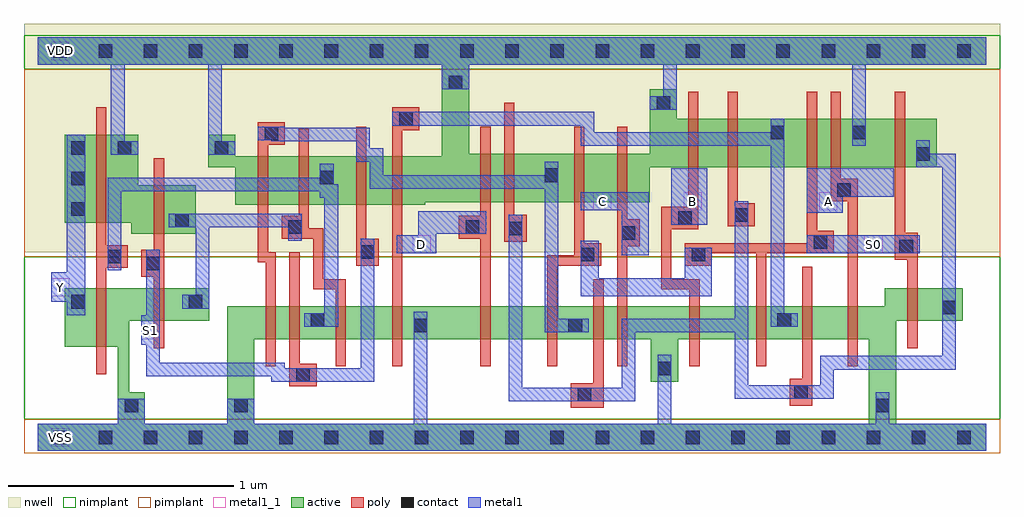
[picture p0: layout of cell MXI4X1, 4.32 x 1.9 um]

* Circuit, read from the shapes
.subckt MXI4X1 A B C D S0 S1 VDD VSS Y
M1 VSS n1 Y VSS nfet w=0.26u l=0.045u
M2 n2 S1 VSS VSS nfet w=0.145u l=0.045u
M3 n3 n4 VSS VSS nfet w=0.145u l=0.045u
M4 n1 S1 n3 VSS nfet w=0.145u l=0.045u
M5 n5 n2 n1 VSS nfet w=0.145u l=0.045u
M6 VSS n6 n5 VSS nfet w=0.145u l=0.045u
M7 n7 D VSS VSS nfet w=0.145u l=0.045u
M8 n4 S0 n7 VSS nfet w=0.145u l=0.045u
M9 n8 n9 n4 VSS nfet w=0.145u l=0.045u
M10 VSS C n8 VSS nfet w=0.145u l=0.045u
M11 n10 B VSS VSS nfet w=0.145u l=0.045u
M12 n6 S0 n10 VSS nfet w=0.145u l=0.045u
M13 n11 n9 n6 VSS nfet w=0.145u l=0.045u
M14 VSS A n11 VSS nfet w=0.145u l=0.045u
M15 n9 S0 VSS VSS nfet w=0.145u l=0.045u
M16 VDD n1 Y VDD pfet w=0.39u l=0.045u
M17 n2 S1 VDD VDD pfet w=0.215u l=0.045u
M18 n12 n4 VDD VDD pfet w=0.215u l=0.045u
M19 n1 n2 n12 VDD pfet w=0.215u l=0.045u
M20 n13 S1 n1 VDD pfet w=0.215u l=0.045u
M21 VDD n6 n13 VDD pfet w=0.215u l=0.045u
M22 n14 D VDD VDD pfet w=0.215u l=0.045u
M23 n4 n9 n14 VDD pfet w=0.215u l=0.045u
M24 n15 S0 n4 VDD pfet w=0.215u l=0.045u
M25 VDD C n15 VDD pfet w=0.215u l=0.045u
M26 n16 B VDD VDD pfet w=0.215u l=0.045u
M27 n6 n9 n16 VDD pfet w=0.215u l=0.045u
M28 n17 S0 n6 VDD pfet w=0.215u l=0.045u
M29 VDD A n17 VDD pfet w=0.215u l=0.045u
M30 n9 S0 VDD VDD pfet w=0.215u l=0.045u
.ends

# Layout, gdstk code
import gdstk
lib = gdstk.Library(unit=1e-6, precision=5e-10)
def R(c, l, rs):  # rectangles x0, y0, x1, y1
    for r in rs: c.add(gdstk.rectangle(r[:2], r[2:], *l))
def A(c, l, x, y, w, h, nx, ny, dx, dy):  # array of equal rectangles
    R(c, l, [(x+i*dx, y+j*dy, x+i*dx+w, y+j*dy+h) for i in range(nx) for j in range(ny)])
def P(c, l, *ps):  # polygons
    for p in ps: c.add(gdstk.Polygon(p, *l))
active = (1, 0)
nwell = (2, 0)
poly = (3, 0)
nimplant = (4, 0)
pimplant = (5, 0)
contact = (6, 0)
metal1 = (7, 0)
metal1_1 = (7, 1)

mxi4x1 = lib.new_cell('MXI4X1')
P(mxi4x1, active, [(0,1.77),(4.2,1.77),(4.2,1.65),(1.91,1.65),(1.91,1.255),(2.71,1.255),(2.71,1.54),(2.83,1.54),(2.83,1.41),(3.98,1.41),(3.98,1.195),(2.71,1.195),(2.71,1.04),(1.715,1.04),(1.715,1.03),(0.875,1.03),(0.875,1.195),(0.755,1.195),(0.755,1.34),(0.875,1.34),(0.875,1.245),(1.79,1.245),(1.79,1.65),(0,1.65)],
  [(0.12,1.34),(0.445,1.34),(0.445,1.115),(0.7,1.115),(0.7,0.9),(0.415,0.9),(0.415,0.95),(0.12,0.95)],
  [(0.12,0.66),(0.76,0.66),(0.76,0.515),(0.405,0.515),(0.405,0.2),(0.475,0.2),(0.475,0.06),(0.84,0.06),(0.84,0.435),(0.96,0.435),(0.96,0.06),(3.68,0.06),(3.68,0.435),(2.835,0.435),(2.835,0.245),(2.715,0.245),(2.715,0.435),(0.84,0.435),(0.84,0.58),(3.75,0.58),(3.75,0.66),(4.095,0.66),(4.095,0.515),(3.8,0.515),(3.8,0.06),(4.2,0.06),(4.2,-0.06),(0,-0.06),(0,0.06),(0.355,0.06),(0.355,0.4),(0.12,0.4)])
R(mxi4x1, nwell, [(-0.06,0.82,4.26,1.83)])
P(mxi4x1, poly, [(0.975,1.395),(1.095,1.395),(1.095,1.295),(1.02,1.295),(1.02,0.82),(1.055,0.82),(1.055,0.315),(1.01,0.315),(1.01,0.775),(0.975,0.775)],
  [(0.26,1.46),(0.305,1.46),(0.305,0.85),(0.4,0.85),(0.4,0.75),(0.305,0.75),(0.305,0.28),(0.26,0.28)],
  [(1.57,1.46),(1.69,1.46),(1.69,1.36),(1.615,1.36),(1.615,0.315),(1.57,0.315)],
  [(1.155,1.365),(1.2,1.365),(1.2,0.925),(1.265,0.925),(1.265,0.7),(1.365,0.7),(1.365,0.315),(1.32,0.315),(1.32,0.655),(1.22,0.655),(1.22,0.88),(1.08,0.88),(1.08,0.98),(1.155,0.98)],
  [(1.41,1.375),(1.455,1.375),(1.455,0.88),(1.51,0.88),(1.51,0.76),(1.41,0.76)],
  [(1.96,1.375),(2.005,1.375),(2.005,0.315),(1.96,0.315),(1.96,0.88),(1.865,0.88),(1.865,0.98),(1.96,0.98)],
  [(2.065,1.48),(2.11,1.48),(2.11,0.985),(2.165,0.985),(2.165,0.865),(2.065,0.865)],
  [(2.375,1.375),(2.42,1.375),(2.42,0.86),(2.495,0.86),(2.495,0.76),(2.3,0.76),(2.3,0.315),(2.255,0.315),(2.255,0.805),(2.375,0.805)],
  [(2.565,1.375),(2.61,1.375),(2.61,0.965),(2.665,0.965),(2.665,0.845),(2.61,0.845),(2.61,0.315),(2.565,0.315)],
  [(0.515,1.235),(0.56,1.235),(0.56,0.395),(0.515,0.395),(0.515,0.71),(0.46,0.71),(0.46,0.83),(0.515,0.83)],
  [(2.88,1.53),(2.925,1.53),(2.925,0.92),(2.805,0.92),(2.805,0.7),(2.93,0.7),(2.93,0.315),(2.885,0.315),(2.885,0.655),(2.76,0.655),(2.76,1.02),(2.88,1.02)],
  [(3.055,1.53),(3.1,1.53),(3.1,1.035),(3.175,1.035),(3.175,0.935),(3.055,0.935)],
  [(3.405,1.53),(3.45,1.53),(3.45,0.915),(3.525,0.915),(3.525,0.815),(3.225,0.815),(3.225,0.315),(3.18,0.315),(3.18,0.815),(2.985,0.815),(2.985,0.76),(2.865,0.76),(2.865,0.86),(3.405,0.86)],
  [(3.51,1.53),(3.555,1.53),(3.555,1.145),(3.63,1.145),(3.63,0.315),(3.585,0.315),(3.585,1.045),(3.51,1.045)],
  [(3.795,1.53),(3.84,1.53),(3.84,0.905),(3.895,0.905),(3.895,0.395),(3.85,0.395),(3.85,0.785),(3.795,0.785)],
  [(1.115,0.82),(1.16,0.82),(1.16,0.325),(1.235,0.325),(1.235,0.225),(1.115,0.225)],
  [(2.46,0.7),(2.505,0.7),(2.505,0.13),(2.36,0.13),(2.36,0.24),(2.46,0.24)],
  [(3.385,0.755),(3.43,0.755),(3.43,0.14),(3.33,0.14),(3.33,0.26),(3.385,0.26)])
R(mxi4x1, nimplant, [(-0.06,0.08,4.26,0.8), (-0.06,1.63,4.26,1.78)])
R(mxi4x1, pimplant, [(-0.06,-0.07,4.26,0.08), (-0.06,0.8,4.26,1.63)])
A(mxi4x1, contact, 0.07, -0.03, 0.06, 0.06, 21, 2, 0.2, 1.71)
A(mxi4x1, contact, 0.15, 0.98, 0.06, 0.06, 1, 3, 0, 0.135)
R(mxi4x1, contact, [(0.385,0.11,0.445,0.17), (0.87,0.11,0.93,0.17), (3.71,0.11,3.77,0.17), (2.39,0.16,2.45,0.22), (3.35,0.17,3.41,0.23), (1.145,0.245,1.205,0.305), (2.745,0.275,2.805,0.335), (1.665,0.465,1.725,0.525), (2.35,0.465,2.41,0.525), (1.21,0.49,1.27,0.55), (3.275,0.49,3.335,0.55), (4.005,0.545,4.065,0.605), (0.15,0.57,0.21,0.63), (0.67,0.57,0.73,0.63), (0.48,0.74,0.54,0.8), (0.31,0.77,0.37,0.83), (2.405,0.78,2.465,0.84), (2.895,0.78,2.955,0.84), (1.43,0.79,1.49,0.85), (3.815,0.815,3.875,0.875), (3.435,0.835,3.495,0.895), (2.585,0.875,2.645,0.935), (2.085,0.895,2.145,0.955), (1.11,0.9,1.17,0.96), (1.895,0.9,1.955,0.96), (0.61,0.93,0.67,0.99), (2.835,0.94,2.895,1), (3.085,0.955,3.145,1.015), (3.54,1.065,3.6,1.125), (1.25,1.12,1.31,1.18), (2.245,1.13,2.305,1.19), (3.89,1.225,3.95,1.285), (0.355,1.25,0.415,1.31), (0.785,1.25,0.845,1.31), (1.005,1.315,1.065,1.375), (3.245,1.32,3.305,1.38), (3.605,1.32,3.665,1.38), (1.6,1.38,1.66,1.44), (2.74,1.45,2.8,1.51), (1.82,1.54,1.88,1.6)])
R(mxi4x1, metal1, [(3.405,0.815,3.905,0.895), (2.805,0.94,2.965,1.19)])
P(mxi4x1, metal1, [(0,1.77),(4.2,1.77),(4.2,1.65),(3.665,1.65),(3.665,1.29),(3.605,1.29),(3.605,1.65),(2.83,1.65),(2.83,1.45),(2.71,1.45),(2.71,1.51),(2.77,1.51),(2.77,1.65),(1.91,1.65),(1.91,1.54),(1.79,1.54),(1.79,1.65),(0.815,1.65),(0.815,1.31),(0.875,1.31),(0.875,1.25),(0.755,1.25),(0.755,1.65),(0.385,1.65),(0.385,1.31),(0.445,1.31),(0.445,1.25),(0.325,1.25),(0.325,1.65),(0,1.65)],
  [(0.13,1.34),(0.21,1.34),(0.21,0.54),(0.13,0.54),(0.13,0.6),(0.06,0.6),(0.06,0.73),(0.13,0.73)],
  [(0.975,1.375),(1.095,1.375),(1.095,1.37),(1.47,1.37),(1.47,1.28),(1.53,1.28),(1.53,1.16),(2.245,1.16),(2.245,1.22),(2.305,1.22),(2.305,0.525),(2.44,0.525),(2.44,0.465),(2.245,0.465),(2.245,1.1),(1.47,1.1),(1.47,1.22),(1.41,1.22),(1.41,1.31),(1.035,1.31),(1.035,1.315),(0.975,1.315)],
  [(1.57,1.44),(2.465,1.44),(2.465,1.35),(3.245,1.35),(3.245,1.41),(3.305,1.41),(3.305,0.55),(3.365,0.55),(3.365,0.49),(3.245,0.49),(3.245,1.29),(2.405,1.29),(2.405,1.38),(1.57,1.38)],
  [(1.25,1.21),(1.31,1.21),(1.31,1.12),(1.33,1.12),(1.33,0.49),(1.18,0.49),(1.18,0.55),(1.27,0.55),(1.27,1.06),(1.25,1.06),(1.25,1.09),(0.37,1.09),(0.37,0.74),(0.31,0.74),(0.31,1.15),(1.25,1.15)],
  [(3.89,1.315),(3.95,1.315),(3.95,1.255),(4.065,1.255),(4.065,0.3),(3.525,0.3),(3.525,0.17),(3.085,0.17),(3.085,0.465),(2.645,0.465),(2.645,0.16),(2.085,0.16),(2.085,0.985),(2.145,0.985),(2.145,0.22),(2.585,0.22),(2.585,0.525),(3.085,0.525),(3.085,1.045),(3.145,1.045),(3.145,0.23),(3.465,0.23),(3.465,0.36),(4.005,0.36),(4.005,1.195),(3.89,1.195)],
  [(0.58,0.99),(1.17,0.99),(1.17,0.87),(1.11,0.87),(1.11,0.93),(0.76,0.93),(0.76,0.57),(0.64,0.57),(0.64,0.63),(0.7,0.63),(0.7,0.93),(0.58,0.93)],
  [(0.48,0.83),(0.54,0.83),(0.54,0.33),(1.095,0.33),(1.095,0.305),(1.43,0.305),(1.43,0.88),(1.49,0.88),(1.49,0.245),(1.035,0.245),(1.035,0.27),(0.48,0.27),(0.48,0.41),(0.46,0.41),(0.46,0.54),(0.48,0.54)],
  [(1.685,1),(1.985,1),(1.985,0.9),(1.765,0.9),(1.765,0.815),(1.59,0.815),(1.59,0.895),(1.685,0.895)],
  [(0.355,0.17),(0.475,0.17),(0.475,0.06),(0.84,0.06),(0.84,0.17),(0.96,0.17),(0.96,0.06),(1.665,0.06),(1.665,0.555),(1.725,0.555),(1.725,0.06),(2.745,0.06),(2.745,0.365),(2.805,0.365),(2.805,0.06),(3.71,0.06),(3.71,0.2),(3.77,0.2),(3.77,0.06),(4.2,0.06),(4.2,-0.06),(0,-0.06),(0,0.06),(0.355,0.06)],
  [(2.405,1.085),(2.705,1.085),(2.705,0.805),(2.585,0.805),(2.585,1.005),(2.405,1.005)],
  [(2.405,0.87),(2.485,0.87),(2.485,0.705),(2.865,0.705),(2.865,0.84),(2.985,0.84),(2.985,0.625),(2.405,0.625)],
  [(3.405,1.19),(3.79,1.19),(3.79,1.065),(3.565,1.065),(3.565,0.995),(3.405,0.995)])
R(mxi4x1, metal1_1, [(0.06,-0.04,0.14,0.04), (0.46,0.435,0.54,0.515), (0.06,0.625,0.14,0.705), (1.66,0.815,1.74,0.895), (3.66,0.815,3.74,0.895), (2.46,1.005,2.54,1.085), (2.86,1.005,2.94,1.085), (3.46,1.005,3.54,1.085), (0.06,1.67,0.14,1.75)])
mxi4x1.add(gdstk.Label('Y', (0.1,0.665), layer=7, texttype=1))
mxi4x1.add(gdstk.Label('S0', (3.7,0.855), layer=7, texttype=1))
mxi4x1.add(gdstk.Label('A', (3.5,1.045), layer=7, texttype=1))
mxi4x1.add(gdstk.Label('B', (2.9,1.045), layer=7, texttype=1))
mxi4x1.add(gdstk.Label('C', (2.5,1.045), layer=7, texttype=1))
mxi4x1.add(gdstk.Label('D', (1.7,0.855), layer=7, texttype=1))
mxi4x1.add(gdstk.Label('S1', (0.5,0.475), layer=7, texttype=1))
mxi4x1.add(gdstk.Label('VDD', (0.1,1.71), layer=7, texttype=1))
mxi4x1.add(gdstk.Label('VSS', (0.1,0), layer=7, texttype=1))
mxi4x1.add(gdstk.Label('MXI4X1', (0,0), layer=63, texttype=0))

lib.write_gds('MXI4X1.gds')
